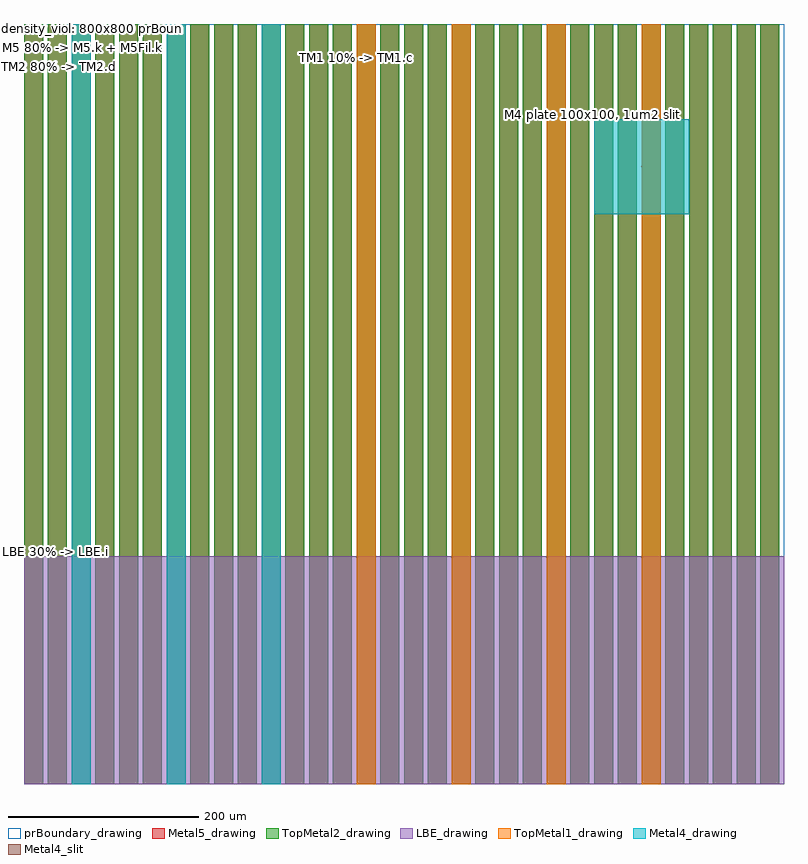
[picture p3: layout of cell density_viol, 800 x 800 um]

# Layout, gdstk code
import gdstk
lib = gdstk.Library(unit=1e-6, precision=1e-09)
def R(c, l, rs):  # rectangles x0, y0, x1, y1
    for r in rs: c.add(gdstk.rectangle(r[:2], r[2:], *l))
def A(c, l, x, y, w, h, nx, ny, dx, dy):  # array of equal rectangles
    R(c, l, [(x+i*dx, y+j*dy, x+i*dx+w, y+j*dy+h) for i in range(nx) for j in range(ny)])
Metal4_drawing = (50, 0)
Metal4_slit = (50, 24)
Metal5_drawing = (67, 0)
TopMetal1_drawing = (126, 0)
TopMetal2_drawing = (134, 0)
LBE_drawing = (157, 0)
prBoundary_drawing = (235, 0)

density_viol = lib.new_cell('density_viol')
A(density_viol, Metal4_drawing, 50, 0, 20, 800, 3, 1, 100, 0)
R(density_viol, Metal4_drawing, [(600,600,700,700)])
R(density_viol, Metal4_slit, [(649.5,649.5,650.5,650.5)])
A(density_viol, Metal5_drawing, 0, 0, 20, 800, 32, 1, 25, 0)
A(density_viol, TopMetal1_drawing, 350, 0, 20, 800, 4, 1, 100, 0)
A(density_viol, TopMetal2_drawing, 0, 0, 20, 800, 32, 1, 25, 0)
R(density_viol, LBE_drawing, [(0,0,800,240)])
R(density_viol, prBoundary_drawing, [(0,0,800,800)])
density_viol.add(gdstk.Label('density_viol: 800x800 prBoundary chip', (10,795), layer=63, texttype=0))
density_viol.add(gdstk.Label('M4 ~9.1% -> M4.j + M4Fil.h', (50,785), layer=63, texttype=0))
density_viol.add(gdstk.Label('M4 plate 100x100, 1um2 slit -> Slt.i_M4', (600,705), layer=63, texttype=0))
density_viol.add(gdstk.Label('M5 80% -> M5.k + M5Fil.k', (10,775), layer=63, texttype=0))
density_viol.add(gdstk.Label('TM1 10% -> TM1.c', (350,765), layer=63, texttype=0))
density_viol.add(gdstk.Label('TM2 80% -> TM2.d', (10,755), layer=63, texttype=0))
density_viol.add(gdstk.Label('LBE 30% -> LBE.i', (10,245), layer=63, texttype=0))

lib.write_gds('density_viol.gds')
